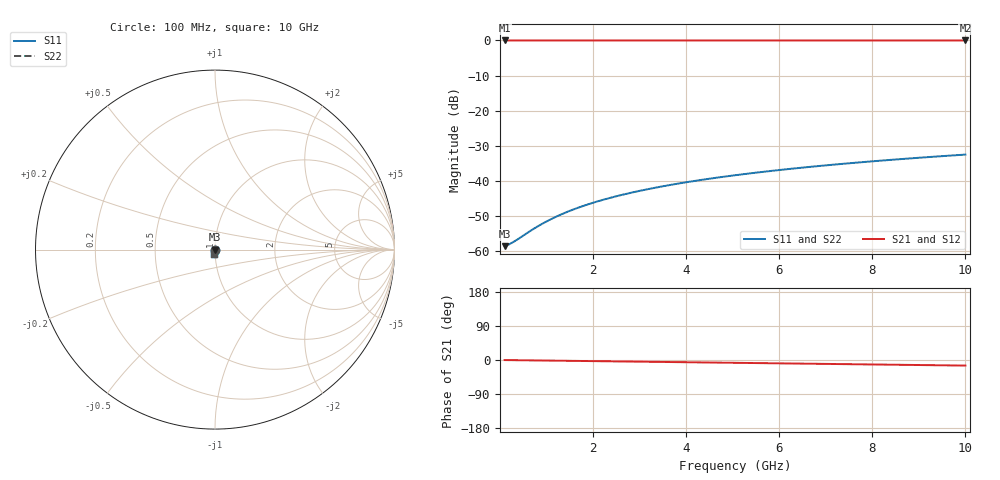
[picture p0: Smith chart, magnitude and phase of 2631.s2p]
# Hz S RI R 50.00
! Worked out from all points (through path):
!   100 points, 100 MHz to 10 GHz, reference 50 ohm
!   highest |S21| = -0.01 dB at 100 MHz (marker M1); lowest = 0.0 dB at 10 GHz (marker M2)
!   group delay of S21, straight-line fit = 4.09 ps
!   lowest |S11| = -58.6 dB at 100 MHz (marker M3), VSWR 1.00, Z = 50.1 - j0.0239 ohm
!   |S11| at or under -10 dB: start of sweep to end of sweep
!   |S22| runs from -58.6 to -32.5 dB; largest |S21 - S12| = 0
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1e8  0.00115 -0.000239  0.9988 -0.00256  0.9988 -0.00256  0.00115 -0.000239
2e8  0.00115 -0.000478  0.9988 -0.00512  0.9988 -0.00512  0.00115 -0.000478
3e8  0.00115 -0.000717  0.9988 -0.00768  0.9988 -0.00768  0.00115 -0.000717
6e8  0.00114 -0.00143  0.9987 -0.0154  0.9987 -0.0154  0.00114 -0.00143
8e8  0.00113 -0.00191  0.9986 -0.0205  0.9986 -0.0205  0.00113 -0.00191
9e8  0.00112 -0.00215  0.9985 -0.023  0.9985 -0.023  0.00112 -0.00215
1.1e9  0.0011 -0.00263  0.9984 -0.0282  0.9984 -0.0282  0.0011 -0.00263
1.4e9  0.00106 -0.00335  0.9981 -0.0358  0.9981 -0.0358  0.00106 -0.00335
1.6e9  0.00102 -0.00382  0.9979 -0.041  0.9979 -0.041  0.00102 -0.00382
1.8e9  0.000982 -0.0043  0.9977 -0.0461  0.9977 -0.0461  0.000982 -0.0043
2.1e9  0.000912 -0.00502  0.9973 -0.0538  0.9973 -0.0538  0.000912 -0.00502
2.5e9  0.000801 -0.00597  0.9967 -0.064  0.9967 -0.064  0.000801 -0.00597
2.9e9  0.000671 -0.00692  0.996 -0.0742  0.996 -0.0742  0.000671 -0.00692
3.4e9  0.000479 -0.00811  0.9949 -0.087  0.9949 -0.087  0.000479 -0.00811
3.8e9  0.000304 -0.00905  0.9939 -0.0972  0.9939 -0.0972  0.000304 -0.00905
4.2e9  0.000109 -0.01  0.9929 -0.1074  0.9929 -0.1074  0.000109 -0.01
5.1e9  -0.0004 -0.0121  0.9901 -0.1304  0.9901 -0.1304  -0.0004 -0.0121
5.9e9  -0.000935 -0.014  0.9871 -0.1507  0.9871 -0.1507  -0.000935 -0.014
6.7e9  -0.00155 -0.0158  0.9838 -0.171  0.9838 -0.171  -0.00155 -0.0158
7.5e9  -0.00223 -0.0176  0.98 -0.1912  0.98 -0.1912  -0.00223 -0.0176
8.4e9  -0.0031 -0.0196  0.9752 -0.2139  0.9752 -0.2139  -0.0031 -0.0196
1e10  -0.00486 -0.0231  0.9654 -0.254  0.9654 -0.254  -0.00486 -0.0231
